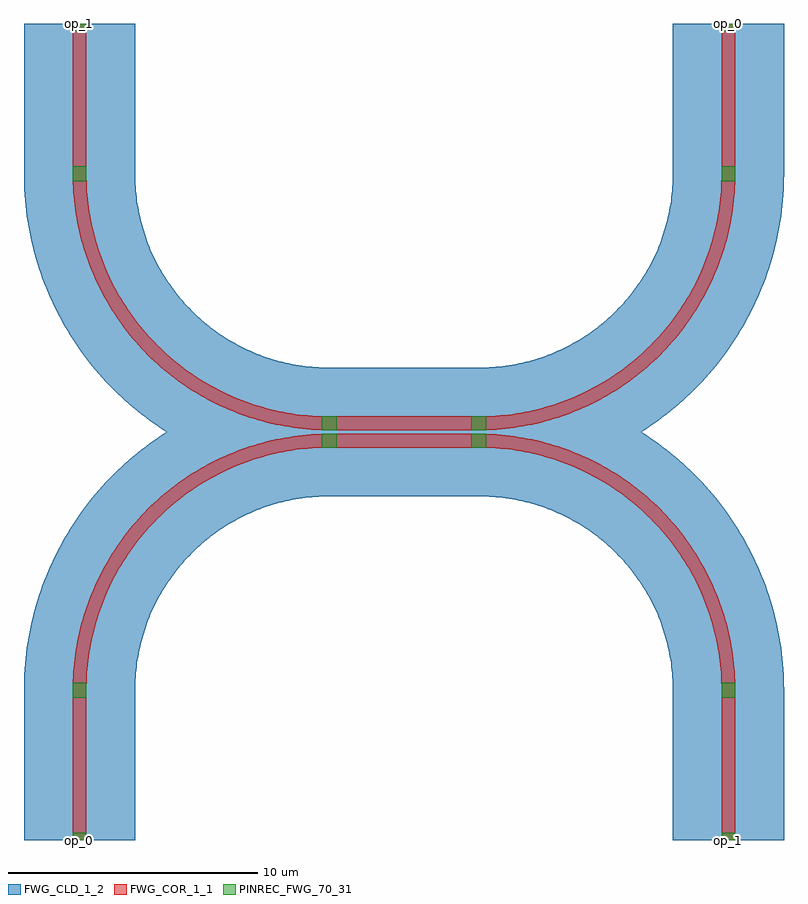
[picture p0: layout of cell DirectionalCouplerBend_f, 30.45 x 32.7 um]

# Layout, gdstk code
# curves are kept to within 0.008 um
from math import pi, radians
import gdstk
lib = gdstk.Library(unit=1e-6, precision=1e-09)
def R(c, l, rs):  # rectangles x0, y0, x1, y1
    for r in rs: c.add(gdstk.rectangle(r[:2], r[2:], *l))
def P(c, l, *ps):  # polygons
    for p in ps: c.add(gdstk.Polygon(p, *l))
FWG_COR_1_1 = (1, 1)
FWG_CLD_1_2 = (1, 2)
PINREC_FWG_70_31 = (70, 31)

c_wg = lib.new_cell('wg')
R(c_wg, FWG_COR_1_1, [(-3,-0.275,3,0.275)])
P(c_wg, FWG_CLD_1_2, [(-3,2.225),(3,2.225),(3,0.275),(3,-0.275),(3,-2.225),(-3,-2.225),(-3,-0.275),(-3,0.275)])
R(c_wg, PINREC_FWG_70_31, [(-3,-0.275,-2.7,0.275), (2.7,-0.275,3,0.275)])
c_wg.add(gdstk.Label('op_0', (-3,0), layer=70, texttype=41))
c_wg.add(gdstk.Label('op_1', (3,0), layer=70, texttype=41))

straight_coupler = lib.new_cell('Straight_coupler')
R(straight_coupler, PINREC_FWG_70_31, [(-3,-0.275,-2.7,0.275), (2.7,-0.275,3,0.275)])
straight_coupler.add(gdstk.Reference(c_wg, (0,0)))
straight_coupler.add(gdstk.Label('op_0', (-3,0), layer=70, texttype=41))
straight_coupler.add(gdstk.Label('op_1', (3,0), layer=70, texttype=41))

wg_x2 = lib.new_cell('wg_x2')
P(wg_x2, FWG_COR_1_1, [(9.725,0),(9.712,0.509),(9.672,1.017),(9.605,1.521),(9.546,1.856),(9.476,2.188),(9.348,2.681),(9.195,3.166),(9.017,3.643),(8.814,4.11),(8.587,4.566),(8.336,5.009),(8.156,5.297),(7.868,5.716),(7.558,6.12),(7.34,6.38),(6.996,6.756),(6.756,6.996),(6.38,7.34),(5.853,7.767),(5.578,7.966),(5.153,8.247),(4.715,8.506),(4.415,8.665),(3.8,8.952),(3.326,9.139),(2.681,9.348),(2.188,9.476),(1.689,9.577),(1.185,9.653),(0.509,9.712),(0,9.725),(0,10.275),(0.538,10.261),(1.074,10.219),(1.607,10.149),(2.136,10.05),(2.659,9.925),(3.175,9.772),(3.682,9.593),(4.179,9.387),(4.665,9.155),(4.981,8.987),(5.445,8.714),(5.894,8.417),(6.326,8.097),(6.741,7.755),(7.138,7.391),(7.515,7.008),(7.871,6.605),(8.206,6.184),(8.518,5.746),(8.898,5.138),(9.155,4.665),(9.387,4.179),(9.593,3.682),(9.826,3.004),(10.012,2.311),(10.149,1.607),(10.236,0.896),(10.269,0.359),(10.275,0)])
P(wg_x2, FWG_CLD_1_2, [(7.775,0),(7.764,0.407),(7.732,0.813),(7.632,1.484),(7.474,2.143),(7.351,2.531),(7.209,2.913),(6.928,3.53),(6.733,3.887),(6.521,4.235),(6.29,4.57),(6.042,4.893),(5.778,5.202),(5.498,5.498),(5.202,5.778),(4.893,6.042),(4.57,6.29),(4.235,6.521),(3.887,6.733),(3.53,6.928),(2.913,7.209),(2.531,7.351),(2.143,7.474),(1.484,7.632),(0.813,7.732),(0.407,7.764),(0,7.775),(0,12.225),(0.427,12.218),(0.853,12.195),(1.49,12.134),(2.333,12),(3.164,11.809),(3.778,11.627),(4.58,11.335),(5.167,11.08),(5.927,10.692),(6.658,10.253),(7.186,9.89),(7.858,9.365),(8.337,8.941),(8.794,8.492),(9.365,7.858),(9.89,7.186),(10.253,6.658),(10.692,5.927),(11.08,5.167),(11.335,4.58),(11.488,4.181),(11.752,3.37),(11.958,2.542),(12.106,1.701),(12.195,0.853),(12.218,0.427),(12.225,0)])
R(wg_x2, PINREC_FWG_70_31, [(9.725,0,10.275,0.3), (0,9.725,0.3,10.275)])
wg_x2.add(gdstk.Label('op_0', (10,0), layer=70, texttype=41))
wg_x2.add(gdstk.Label('op_1', (0,10), layer=70, texttype=41))

bendcircular_rbend = lib.new_cell('BendCircular_rbend')
R(bendcircular_rbend, PINREC_FWG_70_31, [(9.725,0,10.275,0.3), (0,9.725,0.3,10.275)])
bendcircular_rbend.add(gdstk.Reference(wg_x2, (0,0)))
bendcircular_rbend.add(gdstk.Label('op_0', (10,0), layer=70, texttype=41))
bendcircular_rbend.add(gdstk.Label('op_1', (0,10), layer=70, texttype=41))

wg_x1 = lib.new_cell('wg_x1')
R(wg_x1, FWG_COR_1_1, [(0,-0.275,6,0.275)])
P(wg_x1, FWG_CLD_1_2, [(0,2.225),(6,2.225),(6,0.275),(6,-0.275),(6,-2.225),(0,-2.225),(0,-0.275),(0,0.275)])
R(wg_x1, PINREC_FWG_70_31, [(0,-0.275,0.3,0.275), (5.7,-0.275,6,0.275)])
wg_x1.add(gdstk.Label('op_0', (0,0), layer=70, texttype=41))
wg_x1.add(gdstk.Label('op_1', (6,0), layer=70, texttype=41))

straight_rafterbend = lib.new_cell('Straight_rafterbend')
R(straight_rafterbend, PINREC_FWG_70_31, [(0,-0.275,0.3,0.275), (5.7,-0.275,6,0.275)])
straight_rafterbend.add(gdstk.Reference(wg_x1, (0,0)))
straight_rafterbend.add(gdstk.Label('op_0', (0,0), layer=70, texttype=41))
straight_rafterbend.add(gdstk.Label('op_1', (6,0), layer=70, texttype=41))

bottom = lib.new_cell('bottom')
R(bottom, PINREC_FWG_70_31, [(-13.275,-16.35,-12.725,-16.05), (12.725,-16.35,13.275,-16.05)])
bottom.add(gdstk.Reference(straight_coupler, (0,-0.35)))
bottom.add(gdstk.Reference(bendcircular_rbend, (-3,-10.35), rotation=pi/2))
bottom.add(gdstk.Reference(straight_rafterbend, (-13,-16.35), rotation=pi/2))
bottom.add(gdstk.Reference(bendcircular_rbend, (3,-10.35)))
bottom.add(gdstk.Reference(straight_rafterbend, (13,-10.35), rotation=3*pi/2))
bottom.add(gdstk.Label('op_0', (-13,-16.35), layer=70, texttype=41))
bottom.add(gdstk.Label('op_1', (13,-16.35), layer=70, texttype=41))

directionalcouplerbend_f = lib.new_cell('DirectionalCouplerBend_f')
R(directionalcouplerbend_f, PINREC_FWG_70_31, [(-13.275,-16.35,-12.725,-16.05), (12.725,-16.35,13.275,-16.05), (-13.275,16.05,-12.725,16.35), (12.725,16.05,13.275,16.35)])
directionalcouplerbend_f.add(gdstk.Reference(bottom, (0,0)))
directionalcouplerbend_f.add(gdstk.Reference(bottom, (0,0), rotation=pi))
directionalcouplerbend_f.add(gdstk.Label('op_1', (-13,16.35), layer=70, texttype=41))
directionalcouplerbend_f.add(gdstk.Label('op_0', (-13,-16.35), layer=70, texttype=41))
directionalcouplerbend_f.add(gdstk.Label('op_1', (13,-16.35), layer=70, texttype=41))
directionalcouplerbend_f.add(gdstk.Label('op_0', (13,16.35), layer=70, texttype=41))

lib.write_gds('DirectionalCouplerBend_f.gds')
